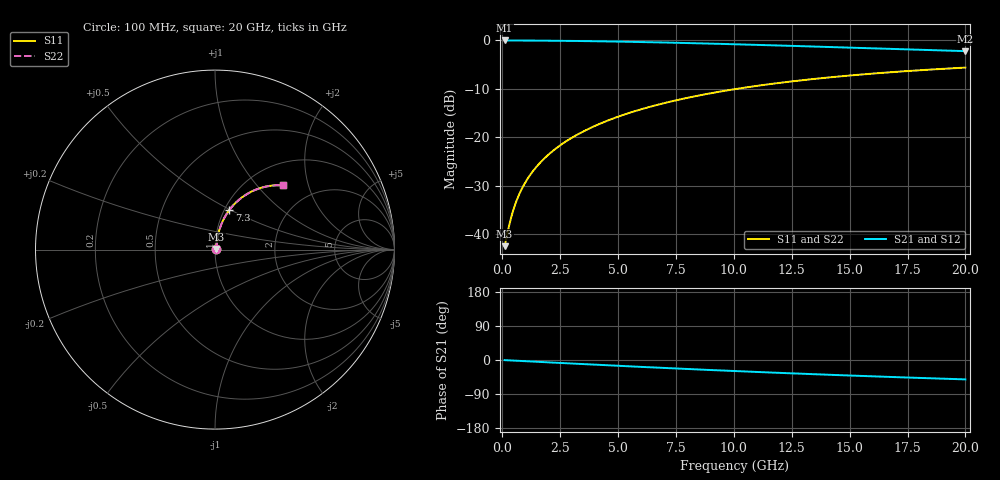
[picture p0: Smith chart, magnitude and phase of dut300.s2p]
! Touchstone file exported from HFSS 2024.1.0
!  File:  C:/UserFiles/LocalFiles/RDL_TSV_Batchsim/temp_RDL_top_300_1779606199.aedt
!  Generated:  03:06:05 PM May 24, 2026
!  Design:  RDL_top
!  Project:  temp_RDL_top_300_1779606199
!  Setup:  Setup1
!  Solution:  Sweep
! Variables:
!  dtsv = 10.80580581um
!  hbump = 3um
!  htsv = 75.57um
!  ldown = 100um
!  lrdl = 681.4um
!  p = 40
!  p1 = 50.48um
!  rhole = 1um
!  t = 450um
!  tdown = 3.915915916um
!  trdl = 2.56um
!  wdown = 15.38538539um
!  wrdl = 14.19um
# GHz S MA R 50.000000
! Terminal data exported
! Port[1] = Box2_T1
! Port[2] = Box2_T2
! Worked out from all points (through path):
!   200 points, 100 MHz to 20 GHz, reference 50 ohm
!   highest |S21| = -0.06 dB at 100 MHz (marker M1); lowest = -2.3 dB at 20 GHz (marker M2)
!   group delay of S21, straight-line fit = 7.11 ps
!   lowest |S11| = -42.4 dB at 100 MHz (marker M3), VSWR 1.02, Z = 50.7 + j0.35 ohm
!   |S11| at or under -10 dB: start of sweep to 10.16 GHz
!   |S22| runs from -42.4 to -5.7 dB; largest |S21 - S12| = 2.4e-15
!   S11 on the Smith chart (normalised r, x): 100 MHz: 1.01, +0.01; 7.3 GHz: 1.06, +0.49; 20 GHz: 1.42, +1.40
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0.1  0.007562 27.2  0.9933 -0.3  0.9933 -0.3  0.007562 27.2
! Gamma 0 0 0 0
! Port Impedance 50 0 50 0
0.3  0.01247 55.7  0.993 -1.0  0.993 -1.0  0.01247 55.7
0.4  0.01547 62.0  0.9928 -1.3  0.9928 -1.3  0.01547 62.0
0.5  0.01858 66.1  0.9926 -1.6  0.9926 -1.6  0.01858 66.1
0.6  0.02173 68.9  0.9923 -1.9  0.9923 -1.9  0.02173 68.9
0.7  0.02489 71.0  0.992 -2.2  0.992 -2.2  0.02489 71.0
0.9  0.03125 73.7  0.9915 -2.9  0.9915 -2.9  0.03125 73.7
1.2  0.04082 76.0  0.9906 -3.8  0.9906 -3.8  0.04082 76.0
1.4  0.04722 77.0  0.99 -4.4  0.99 -4.4  0.04722 76.9
1.7  0.05684 77.8  0.9889 -5.3  0.9889 -5.3  0.05684 77.8
2.2  0.07294 78.3  0.9868 -6.9  0.9868 -6.9  0.07293 78.3
2.8  0.0923 78.2  0.9836 -8.7  0.9836 -8.7  0.09229 78.2
3.5  0.1149 77.5  0.9792 -10.8  0.9792 -10.8  0.1149 77.5
4.2  0.1374 76.4  0.9739 -12.9  0.9739 -12.9  0.1373 76.4
5  0.1629 75.0  0.967 -15.3  0.967 -15.3  0.1628 75.0
6.8  0.219 71.2  0.9484 -20.5  0.9484 -20.5  0.2189 71.2
7.3  0.2342 70.1  0.9426 -21.8  0.9426 -21.8  0.2341 70.1
8.6  0.2725 67.2  0.9266 -25.4  0.9266 -25.4  0.2724 67.2
10.1  0.3146 63.8  0.9069 -29.3  0.9069 -29.3  0.3144 63.7
13.4  0.3974 56.4  0.8609 -37.4  0.8609 -37.4  0.3972 56.3
16.7  0.4663 49.5  0.8147 -44.6  0.8147 -44.6  0.466 49.5
20  0.5221 43.3  0.771 -51.2  0.771 -51.2  0.5217 43.3
